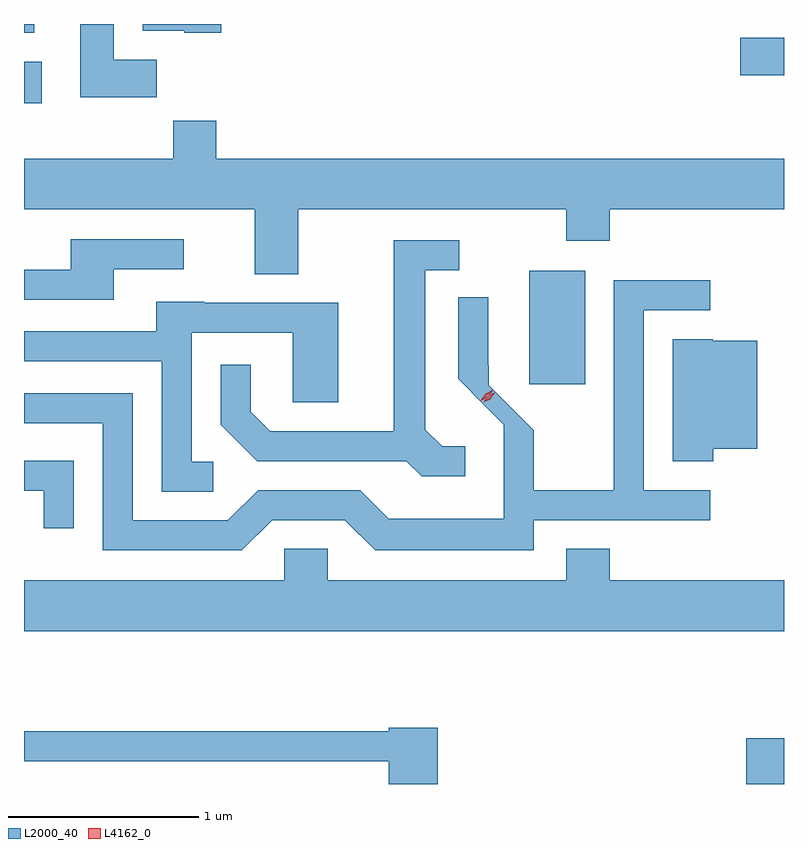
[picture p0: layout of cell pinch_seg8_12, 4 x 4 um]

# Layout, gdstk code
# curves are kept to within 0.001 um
import gdstk
lib = gdstk.Library(unit=1e-6, precision=1e-09)
def R(c, l, rs):  # rectangles x0, y0, x1, y1
    for r in rs: c.add(gdstk.rectangle(r[:2], r[2:], *l))
def P(c, l, *ps):  # polygons
    for p in ps: c.add(gdstk.Polygon(p, *l))
L2000_40 = (2000, 40)
L4162_0 = (4162, 0)

pinch_seg8_12 = lib.new_cell('pinch_seg8_12')
R(pinch_seg8_12, L2000_40, [(1801.116,1837.832,1801.316,1838.074), (1799.976,1839.936,1800.269,1840.534), (1797.316,1841.416,1797.409,1841.634), (1801.086,1841.561,1801.316,1841.759), (1797.316,1841.786,1797.369,1841.832)])
P(pinch_seg8_12, L2000_40, [(1798.354,1841.832),(1797.941,1841.832),(1797.941,1841.796),(1798.16,1841.796),(1798.16,1841.786),(1798.354,1841.786)],
  [(1798.014,1841.644),(1797.789,1841.644),(1797.789,1841.832),(1797.611,1841.832),(1797.611,1841.446),(1798.014,1841.446)],
  [(1798.759,1840.856),(1800.171,1840.856),(1800.171,1840.691),(1800.399,1840.691),(1800.399,1840.856),(1801.316,1840.856),(1801.316,1841.124),(1798.329,1841.124),(1798.329,1841.324),(1798.101,1841.324),(1798.101,1841.124),(1797.316,1841.124),(1797.316,1840.856),(1798.531,1840.856),(1798.531,1840.516),(1798.759,1840.516)],
  [(1797.789,1840.541),(1798.158,1840.541),(1798.158,1840.699),(1797.561,1840.699),(1797.561,1840.539),(1797.316,1840.539),(1797.316,1840.381),(1797.789,1840.381)],
  [(1799.638,1839.609),(1799.517,1839.609),(1799.429,1839.697),(1799.429,1840.536),(1799.608,1840.536),(1799.608,1840.694),(1799.261,1840.694),(1799.261,1839.689),(1798.612,1839.689),(1798.509,1839.792),(1798.509,1840.038),(1798.351,1840.038),(1798.351,1839.724),(1798.544,1839.531),(1799.329,1839.531),(1799.409,1839.451),(1799.638,1839.451)],
  [(1798.622,1839.221),(1799.004,1839.221),(1799.164,1839.061),(1799.999,1839.061),(1799.999,1839.221),(1800.928,1839.221),(1800.928,1839.379),(1800.579,1839.379),(1800.579,1840.326),(1800.928,1840.326),(1800.928,1840.484),(1800.421,1840.484),(1800.421,1839.379),(1799.999,1839.379),(1799.999,1839.693),(1799.761,1839.931),(1799.761,1840.035),(1799.759,1840.035),(1799.759,1840.393),(1799.601,1840.393),(1799.601,1839.966),(1799.675,1839.892),(1799.673,1839.891),(1799.84,1839.724),(1799.841,1839.229),(1799.237,1839.229),(1799.087,1839.379),(1798.549,1839.379),(1798.389,1839.219),(1797.889,1839.219),(1797.889,1839.889),(1797.316,1839.889),(1797.316,1839.731),(1797.731,1839.731),(1797.731,1839.061),(1798.462,1839.061)],
  [(1798.313,1839.529),(1798.199,1839.529),(1798.199,1840.206),(1798.731,1840.206),(1798.731,1839.841),(1798.969,1839.841),(1798.969,1840.364),(1798.265,1840.364),(1798.265,1840.369),(1798.011,1840.369),(1798.011,1840.214),(1797.316,1840.214),(1797.316,1840.056),(1798.041,1840.056),(1798.041,1839.371),(1798.313,1839.371)],
  [(1800.944,1839.596),(1801.174,1839.596),(1801.174,1840.164),(1800.94,1840.164),(1800.94,1840.174),(1800.731,1840.174),(1800.731,1839.531),(1800.944,1839.531)],
  [(1797.579,1839.534),(1797.316,1839.534),(1797.316,1839.376),(1797.421,1839.376),(1797.421,1839.178),(1797.579,1839.178)],
  [(1801.316,1838.904),(1800.399,1838.904),(1800.399,1839.069),(1800.171,1839.069),(1800.171,1838.904),(1798.914,1838.904),(1798.914,1839.069),(1798.686,1839.069),(1798.686,1838.904),(1797.316,1838.904),(1797.316,1838.636),(1801.316,1838.636)],
  [(1799.494,1838.129),(1799.236,1838.129),(1799.236,1838.109),(1797.316,1838.109),(1797.316,1837.951),(1799.236,1837.951),(1799.236,1837.832),(1799.494,1837.832)])
P(pinch_seg8_12, L4162_0, [(1799.719,1839.849),(1799.719,1839.849),(1799.746,1839.886),(1799.786,1839.907),(1799.787,1839.907),(1799.787,1839.907),(1799.76,1839.87),(1799.72,1839.849)],
  [(1799.735,1839.84),(1799.735,1839.841),(1799.757,1839.873),(1799.792,1839.891),(1799.793,1839.891),(1799.793,1839.89),(1799.77,1839.858),(1799.736,1839.84)])

lib.write_gds('pinch_seg8_12.gds')
